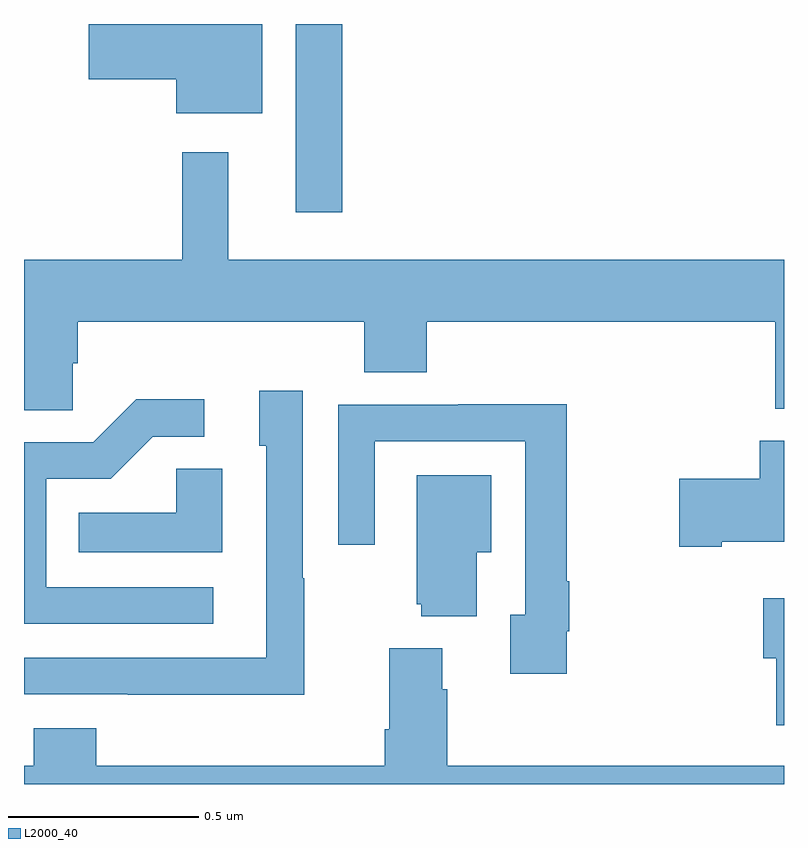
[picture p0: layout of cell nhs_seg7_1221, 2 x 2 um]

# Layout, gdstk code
import gdstk
lib = gdstk.Library(unit=1e-6, precision=1e-09)
def R(c, l, rs):  # rectangles x0, y0, x1, y1
    for r in rs: c.add(gdstk.rectangle(r[:2], r[2:], *l))
def P(c, l, *ps):  # polygons
    for p in ps: c.add(gdstk.Polygon(p, *l))
L2000_40 = (2000, 40)

nhs_seg7_1221 = lib.new_cell('nhs_seg7_1221')
R(nhs_seg7_1221, L2000_40, [(127.715,1067.505,127.837,1068)])
P(nhs_seg7_1221, L2000_40, [(127.627,1068),(127.17,1068),(127.17,1067.854),(127.4,1067.854),(127.4,1067.765),(127.627,1067.765)],
  [(127.128,1067.107),(127.142,1067.107),(127.142,1067.216),(127.895,1067.216),(127.895,1067.083),(128.06,1067.083),(128.06,1067.216),(128.977,1067.216),(128.977,1066.988),(129,1066.988),(129,1067.38),(127.537,1067.38),(127.537,1067.662),(127.416,1067.662),(127.416,1067.38),(127,1067.38),(127,1066.984),(127.128,1066.984)],
  [(127.737,1066.541),(127.734,1066.541),(127.734,1067.035),(127.619,1067.035),(127.619,1066.89),(127.638,1066.89),(127.638,1066.332),(127,1066.332),(127,1066.236),(127.273,1066.236),(127.273,1066.235),(127.737,1066.235)],
  [(127.498,1066.518),(127.059,1066.518),(127.059,1066.803),(127.228,1066.803),(127.339,1066.914),(127.474,1066.914),(127.474,1067.012),(127.295,1067.012),(127.182,1066.899),(127,1066.899),(127,1066.422),(127.498,1066.422)],
  [(128.428,1066.402),(128.435,1066.402),(128.435,1066.534),(128.428,1066.534),(128.428,1067),(128.143,1067),(128.143,1066.998),(127.827,1066.998),(127.827,1066.629),(127.923,1066.629),(127.923,1066.902),(128.319,1066.902),(128.319,1066.446),(128.279,1066.446),(128.279,1066.29),(128.428,1066.29)],
  [(128.836,1066.637),(129,1066.637),(129,1066.903),(128.936,1066.903),(128.936,1066.803),(128.724,1066.803),(128.724,1066.625),(128.836,1066.625)],
  [(127.522,1066.829),(127.401,1066.829),(127.401,1066.714),(127.144,1066.714),(127.144,1066.61),(127.522,1066.61)],
  [(128.191,1066.61),(128.23,1066.61),(128.23,1066.813),(128.033,1066.813),(128.033,1066.473),(128.045,1066.473),(128.045,1066.442),(128.191,1066.442)],
  [(129,1066.489),(128.946,1066.489),(128.946,1066.331),(128.98,1066.331),(128.98,1066.155),(129,1066.155)],
  [(129,1066.048),(128.114,1066.048),(128.114,1066.25),(128.101,1066.25),(128.101,1066.357),(127.961,1066.357),(127.961,1066.144),(127.949,1066.144),(127.949,1066.048),(127.19,1066.048),(127.19,1066.147),(127.025,1066.147),(127.025,1066.048),(127,1066.048),(127,1066),(129,1066)])

lib.write_gds('nhs_seg7_1221.gds')
